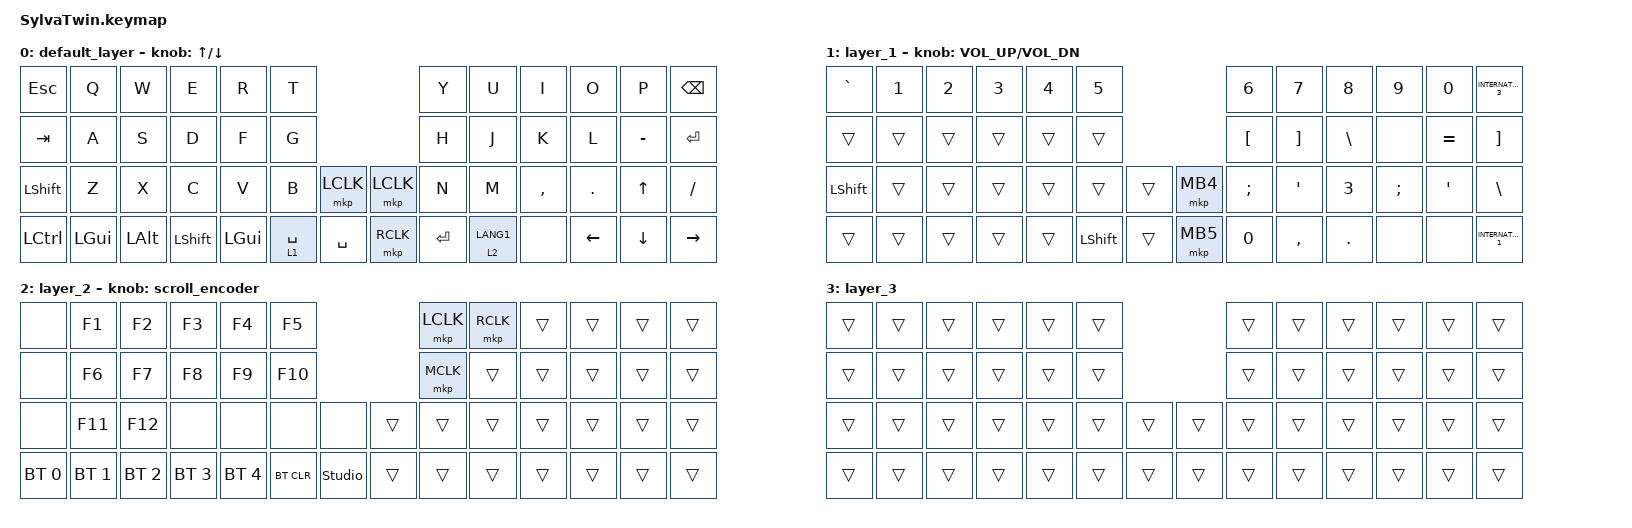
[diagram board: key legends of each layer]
/*
 * Copyright (c) 2020 The ZMK Contributors
 *
 * SPDX-License-Identifier: MIT
 */

#include <behaviors.dtsi>
#include <dt-bindings/zmk/bt.h>
#include <dt-bindings/zmk/keys.h>
#include <dt-bindings/zmk/pointing.h>

/ {
    behaviors {
        scroll_encoder: scroll_encoder {
            compatible = "zmk,behavior-sensor-rotate";
            #sensor-binding-cells = <0>;
            bindings = <&msc SCRL_DOWN>, <&msc SCRL_UP>;

            tap-ms = <20>;
        };
    };

    combos {
        compatible = "zmk,combos";

        prtsc {
            bindings = <&kp PRINTSCREEN>;
            key-positions = <10 11>;
        };

        RightClick {
            bindings = <&mkp RCLK>;
            key-positions = <30 44>;
        };

        MiddleClick {
            bindings = <&mkp MCLK>;
            key-positions = <29 43>;
        };

        RightClick2 {
            bindings = <&mkp RCLK>;
            key-positions = <31 45>;
        };

        MiddleClick2 {
            bindings = <&mkp MCLK>;
            key-positions = <32 46>;
        };

        zen-han {
            bindings = <&kp GRAVE>;
            key-positions = <0 1>;
        };

        paste {
            bindings = <&kp LC(V)>;
            key-positions = <42 28>;
        };

        copy {
            bindings = <&kp LC(C)>;
            key-positions = <41 27>;
        };

        cut {
            bindings = <&kp LC(X)>;
            key-positions = <40 26>;
        };

        prev_click {
            bindings = <&mkp MB4>;
            key-positions = <29 30>;
        };

        eisuu {
            bindings = <&kp LANG2>;
            key-positions = <16 15>;
        };

        kana {
            bindings = <&kp LANG1>;
            key-positions = <19 20>;
        };
    };

    keymap {
        compatible = "zmk,keymap";

        default_layer {
            bindings = <
&kp ESC     &kp Q     &kp W     &kp E           &kp R         &kp T                              &kp Y      &kp U        &kp I      &kp O     &kp P      &kp BSPC
&kp TAB     &kp A     &kp S     &kp D           &kp F         &kp G                              &kp H      &kp J        &kp K      &kp L     &kp MINUS  &kp ENTER
&kp LSHIFT  &kp Z     &kp X     &kp C           &kp V         &kp B        &mkp LCLK  &mkp LCLK  &kp N      &kp M        &kp COMMA  &kp DOT   &kp UP     &kp SLASH
&kp LCTRL   &kp LGUI  &kp LALT  &kp LEFT_SHIFT  &kp LEFT_GUI  &lt 1 SPACE  &kp SPACE  &mkp RCLK  &kp ENTER  &lt 2 LANG1  &none      &kp LEFT  &kp DOWN   &kp RIGHT
            >;

            sensor-bindings = <&inc_dec_kp UP_ARROW DOWN>;
        };

        layer_1 {
            bindings = <
&kp GRAVE       &kp NUMBER_1  &kp NUMBER_2  &kp NUMBER_3  &kp NUMBER_4  &kp NUMBER_5                      &kp NUMBER_6      &kp NUMBER_7       &kp NUMBER_8   &kp NUMBER_9   &kp NUMBER_0      &kp INTERNATIONAL_3
&trans          &trans        &trans        &trans        &trans        &trans                            &kp LEFT_BRACKET  &kp RIGHT_BRACKET  &kp BACKSLASH  &none          &kp EQUAL         &kp RIGHT_BRACKET
&kp LEFT_SHIFT  &trans        &trans        &trans        &trans        &trans          &trans  &mkp MB4  &kp SEMICOLON     &kp SINGLE_QUOTE   &kp NUMBER_3   &kp SEMICOLON  &kp SINGLE_QUOTE  &kp BSLH
&trans          &trans        &trans        &trans        &trans        &kp LEFT_SHIFT  &trans  &mkp MB5  &kp NUMBER_0      &kp COMMA          &kp DOT        &none          &none             &kp INTERNATIONAL_1
            >;

            sensor-bindings = <&inc_dec_kp C_VOL_UP C_VOL_DN>;
        };

        layer_2 {
            bindings = <
&none         &kp F1        &kp F2        &kp F3        &kp F4        &kp F5                              &mkp LCLK  &mkp RCLK  &trans  &trans  &trans  &trans
&none         &kp F6        &kp F7        &kp F8        &kp F9        &kp F10                             &mkp MCLK  &trans     &trans  &trans  &trans  &trans
&none         &kp F11       &kp F12       &none         &none         &none       &none           &trans  &trans     &trans     &trans  &trans  &trans  &trans
&bt BT_SEL 0  &bt BT_SEL 1  &bt BT_SEL 2  &bt BT_SEL 3  &bt BT_SEL 4  &bt BT_CLR  &studio_unlock  &trans  &trans     &trans     &trans  &trans  &trans  &trans
            >;

            sensor-bindings = <&scroll_encoder>;
        };

        layer_3 {
            bindings = <
&trans  &trans  &trans  &trans  &trans  &trans                  &trans  &trans  &trans  &trans  &trans  &trans
&trans  &trans  &trans  &trans  &trans  &trans                  &trans  &trans  &trans  &trans  &trans  &trans
&trans  &trans  &trans  &trans  &trans  &trans  &trans  &trans  &trans  &trans  &trans  &trans  &trans  &trans
&trans  &trans  &trans  &trans  &trans  &trans  &trans  &trans  &trans  &trans  &trans  &trans  &trans  &trans
            >;
        };
    };
};
